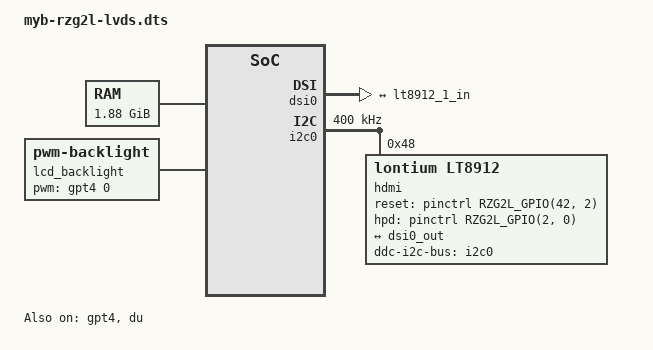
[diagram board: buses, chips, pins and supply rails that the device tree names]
// SPDX-License-Identifier: GPL-2.0
/*
 * Device Tree Source for the RZG2L Dual A55 Evaluation board
 *
 * Copyright (C) 2022 MYiR Electronics Corp.
 */

/dts-v1/;
#include "myb-rzg2l-smarc-base.dtsi"

/ {

	memory@48000000 {
		device_type = "memory";
		/* first 128MB is reserved for secure area. */
		reg = <0x0 0x48000000 0x0 0x78000000>;
	};

	reserved-memory {
		#address-cells = <2>;
		#size-cells = <2>;
		ranges;

		global_cma: linux,cma@58000000 {
			compatible = "shared-dma-pool";
			linux,cma-default;
			reusable;
			reg = <0x0 0x58000000 0x0 0x10000000>;
		};
		mmp_reserved: linux,multimedia {
			compatible = "shared-dma-pool";
			reusable;
			reg = <0x00000000 0x68000000 0x0 0x8000000>;
		};
	};

	mmngr {
		compatible = "renesas,mmngr";
		memory-region = <&mmp_reserved>;
	};

	mmngrbuf {
		compatible = "renesas,mmngrbuf";
	};

	vspm_if {
			compatible = "renesas,vspm_if";
	};

	lcd_backlight: backlight {
		compatible = "pwm-backlight";
		pwms = <&gpt4 0 80000>;
		brightness-levels = <0 2 8 16 32 64 128 255>;
		default-brightness-level = <6>;
	};

};

&pinctrl {
	gpt4_pins: gpt4 {
		pinmux = <RZG2L_PORT_PINMUX(43, 0, 2)>; /* Channel A */
	};
};

&ehci0 {
	memory-region = <&global_cma>;
};

&ohci0 {
	memory-region = <&global_cma>;
};

&ehci1 {
	memory-region = <&global_cma>;
};

&ohci1 {
	memory-region = <&global_cma>;
};

&gpt4 {
	pinctrl-0 = <&gpt4_pins>;
	pinctrl-names = "default";
	channel = "channel_A";
	status = "okay";
};

&du {
	status = "okay";
};

/* MIPI DSI */
&dsi0 {
	status = "okay";

	ports {
		port@1 {
			dsi0_out: endpoint {
					remote-endpoint = <&lt8912_1_in>;
					data-lanes = <1 2 3 4>;
			};
		};
	};
};

&i2c0 {
    clock-frequency = <400000>;
    pinctrl-names = "default";
    status = "okay";

	/* MIPI-DSI to HDMI and LVDS adapter */
	hdmi@48 {
		compatible = "lontium,lt8912";
		ddc-i2c-bus = <&i2c0>;
		dsi-lanes = <4>;
		reg = <0x48>;
		reset-gpios = <&pinctrl RZG2L_GPIO(42, 2) GPIO_ACTIVE_HIGH>;
		hpd-gpios = <&pinctrl RZG2L_GPIO(2, 0) GPIO_ACTIVE_HIGH>;

		/*  lvds_mode :LVDS output or HDMI output
		   0: lvds   1: hdmi  2: hdmi and lvds
		*/
		lvds_mode = <0>;     // 0: lvds   1: hdmi  2: hdmi and lvds
		bit_color = <0> ;    // 0: 24bit   1:18bit
		hdmi_mode = <0>;     // 0: 1080P  1:720P

		/* LVDS atk 10.1*/
	    display-timings {
	        native-mode = <&timing0>;
			timing0:timing0{
				clock-frequency = <71000000>;
				hactive = <1280>;
				hsync-len = <32>;
				hback-porch = <80>;
				hfront-porch = <48>;
				vactive = <800>;
				vsync-len = <6>;
				vback-porch = <14>;
				vfront-porch = <3>;
				vsync-active = <0>;
				hsync-active =<0>;
				de-active =<0>;
				pixelclk-active =<0>;
			};
	    };

		ports{
			#address-cells = <1>;
			#size-cells = <0>;

			port@0 {
				reg = <0>;
				lt8912_1_in: endpoint {
					remote-endpoint = <&dsi0_out>;
				};
			};
		};
	};

};
